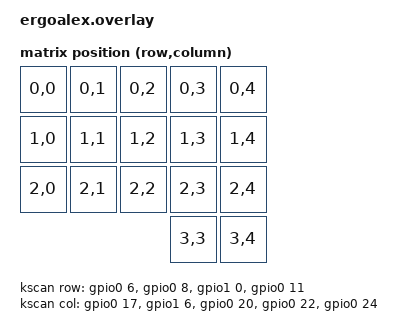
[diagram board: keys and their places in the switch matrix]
#include <dt-bindings/zmk/matrix_transform.h>

/ {
    chosen {
        zmk,kscan = &kscan;
        zmk,matrix_transform = &transform;
    };

    kscan: kscan {
        compatible = "zmk,kscan-gpio-matrix";
        label = "KSCAN";
        diode-direction = "col2row";

        row-gpios = <&gpio0 6  (GPIO_ACTIVE_HIGH | GPIO_PULL_DOWN)>,
                    <&gpio0 8  (GPIO_ACTIVE_HIGH | GPIO_PULL_DOWN)>,
                    <&gpio1 0  (GPIO_ACTIVE_HIGH | GPIO_PULL_DOWN)>,
                    <&gpio0 11 (GPIO_ACTIVE_HIGH | GPIO_PULL_DOWN)>;

        col-gpios = <&gpio0 17 (GPIO_ACTIVE_HIGH)>,
                    <&gpio1 6  (GPIO_ACTIVE_HIGH)>,
                    <&gpio0 20 (GPIO_ACTIVE_HIGH)>,
                    <&gpio0 22 (GPIO_ACTIVE_HIGH)>,
                    <&gpio0 24 (GPIO_ACTIVE_HIGH)>;
    };

    transform: matrix_transform {
        compatible = "zmk,matrix-transform";
        rows = <4>;
        columns = <5>;

        map = <
                     RC(0, 0) RC(0, 1) RC(0, 2) RC(0, 3) RC(0, 4)
                     RC(1, 0) RC(1, 1) RC(1, 2) RC(1, 3) RC(1, 4)
                     RC(2, 0) RC(2, 1) RC(2, 2) RC(2, 3) RC(2, 4)
                                                RC(3, 3) RC(3, 4)
        >;
    };
};
